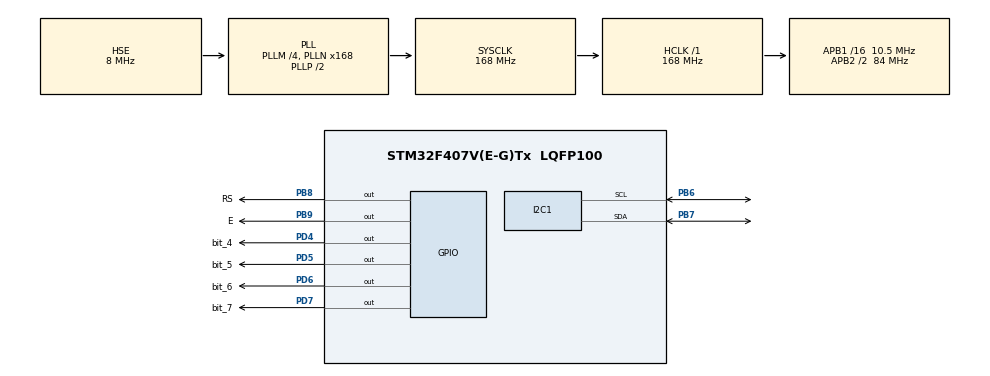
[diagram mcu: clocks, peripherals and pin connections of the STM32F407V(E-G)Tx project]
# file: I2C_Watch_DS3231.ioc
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Mcu.Family=STM32F4
Mcu.Name=STM32F407V(E-G)Tx
Mcu.Package=LQFP100
NVIC.I2C1_ER_IRQn=true\:0\:0\:false\:false\:true\:true\:true\:true
NVIC.I2C1_EV_IRQn=true\:0\:0\:false\:false\:true\:true\:true\:true
NVIC.PriorityGroup=NVIC_PRIORITYGROUP_4
PB6.Mode=I2C
PB6.Signal=I2C1_SCL
PB7.Mode=I2C
PB7.Signal=I2C1_SDA
PB8.GPIO_Label=RS
PB8.Signal=GPIO_Output
PB9.GPIO_Label=E
PB9.Signal=GPIO_Output
PD4.GPIO_Label=bit_4
PD4.Signal=GPIO_Output
PD5.GPIO_Label=bit_5
PD5.Signal=GPIO_Output
PD6.GPIO_Label=bit_6
PD6.Signal=GPIO_Output
PD7.GPIO_Label=bit_7
PD7.Signal=GPIO_Output
PH0-OSC_IN.Mode=HSE-External-Oscillator
PH0-OSC_IN.Signal=RCC_OSC_IN
PH1-OSC_OUT.Mode=HSE-External-Oscillator
PH1-OSC_OUT.Signal=RCC_OSC_OUT
ProjectManager.HeapSize=0x200
ProjectManager.StackSize=0x400
ProjectManager.TargetToolchain=STM32CubeIDE
RCC.48MHZClocksFreq_Value=84000000
RCC.AHBFreq_Value=168000000
RCC.APB1CLKDivider=RCC_HCLK_DIV16
RCC.APB1Freq_Value=10500000
RCC.APB1TimFreq_Value=21000000
RCC.APB2CLKDivider=RCC_HCLK_DIV2
RCC.APB2Freq_Value=84000000
RCC.APB2TimFreq_Value=168000000
RCC.CortexFreq_Value=168000000
RCC.HCLKFreq_Value=168000000
RCC.HSE_VALUE=8000000
RCC.HSI_VALUE=16000000
RCC.LSE_VALUE=32768
RCC.PLLM=4
RCC.PLLN=168
RCC.PLLSourceVirtual=RCC_PLLSOURCE_HSE
RCC.SYSCLKFreq_VALUE=168000000
RCC.SYSCLKSource=RCC_SYSCLKSOURCE_PLLCLK
RCC.VCOOutputFreq_Value=336000000
board=custom

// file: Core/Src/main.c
/* USER CODE BEGIN Header */
/**
  ******************************************************************************
  * @file           : main.c
  * @brief          : Main program body
  ******************************************************************************
  * @attention
  *
  * Copyright (c) 2025 STMicroelectronics.
  * All rights reserved.
  *
  * This software is licensed under terms that can be found in the LICENSE file
  * in the root directory of this software component.
  * If no LICENSE file comes with this software, it is provided AS-IS.
  *
  ******************************************************************************
  */
/* USER CODE END Header */
#include "main.h"

/* USER CODE BEGIN Includes */
#include "lcd.h"
#include "I2C.h"
/* USER CODE END Includes */

I2C_HandleTypeDef hi2c1;

void SystemClock_Config(void);
static void MX_GPIO_Init(void);
static void MX_I2C1_Init(void);

int main(void)
{

  /* USER CODE BEGIN 1 */
	extern uint8_t aTxBuffer[8];
	uint8_t sec = 0, min = 0, hour = 0, day = 0, date = 0, month = 0, year = 0;
  /* USER CODE END 1 */

  /* MCU Configuration--------------------------------------------------------*/

  /* Reset of all peripherals, Initializes the Flash interface and the Systick. */
  HAL_Init();

  /* Configure the system clock */
  SystemClock_Config();

  /* Initialize all configured peripherals */
  MX_GPIO_Init();
  MX_I2C1_Init();
  /* USER CODE BEGIN 2 */
  LCD_Init();
  void DisplayData(uint8_t *data, uint8_t cell)
  {
	  *data = RTC_ConvertFromDec_toBin(aTxBuffer[cell]);
	  LCD_SendChar((char)((*data/10)%10) + 0x30); //+0x30 in order to get the ASCII code of the number
	  LCD_SendChar((char)(*data%10) + 0x30);
  }
  /* USER CODE END 2 */

  /* Infinite loop */
  /* USER CODE BEGIN WHILE */

  while (1)
  {
	  LCD_SetPos(1, 0);
	  aTxBuffer[0] = 0;
	  I2C_WriteBuffer(hi2c1, 0xD0, 1); //Send the address of the slave
	  while (HAL_I2C_GetState(&hi2c1) != HAL_I2C_STATE_READY);

	  I2C_ReadBuffer(hi2c1, 0xD1, 7); //Require 7 bytes from the slave

	  DisplayData(&day, 3);
	  LCD_SendChar(':');
	  DisplayData(&date, 4);
	  LCD_SendChar(':');
	  DisplayData(&month, 5);
	  LCD_SendChar(':');
	  DisplayData(&year, 6);
	  LCD_SendChar(';'); //A separator before date
	  //----------------------------------------
	  DisplayData(&hour, 2);
	  LCD_SendChar(':'); //A separator between time blocks
	  DisplayData(&min, 1);
	  LCD_SendChar(':');
	  DisplayData(&sec, 0);
	  LCD_SendChar('.'); //The end
  }
    /* USER CODE END WHILE */

}

void SystemClock_Config(void)
{
  RCC_OscInitTypeDef RCC_OscInitStruct = {0};
  RCC_ClkInitTypeDef RCC_ClkInitStruct = {0};

  /** Configure the main internal regulator output voltage
  */
  __HAL_RCC_PWR_CLK_ENABLE();
  __HAL_PWR_VOLTAGESCALING_CONFIG(PWR_REGULATOR_VOLTAGE_SCALE1);

  /** Initializes the RCC Oscillators according to the specified parameters
  * in the RCC_OscInitTypeDef structure.
  */
  RCC_OscInitStruct.OscillatorType = RCC_OSCILLATORTYPE_HSE;
  RCC_OscInitStruct.HSEState = RCC_HSE_ON;
  RCC_OscInitStruct.PLL.PLLState = RCC_PLL_ON;
  RCC_OscInitStruct.PLL.PLLSource = RCC_PLLSOURCE_HSE;
  RCC_OscInitStruct.PLL.PLLM = 4;
  RCC_OscInitStruct.PLL.PLLN = 168;
  RCC_OscInitStruct.PLL.PLLP = RCC_PLLP_DIV2;
  RCC_OscInitStruct.PLL.PLLQ = 4;
  if (HAL_RCC_OscConfig(&RCC_OscInitStruct) != HAL_OK)
  {
    Error_Handler();
  }

  /** Initializes the CPU, AHB and APB buses clocks
  */
  RCC_ClkInitStruct.ClockType = RCC_CLOCKTYPE_HCLK|RCC_CLOCKTYPE_SYSCLK
                              |RCC_CLOCKTYPE_PCLK1|RCC_CLOCKTYPE_PCLK2;
  RCC_ClkInitStruct.SYSCLKSource = RCC_SYSCLKSOURCE_PLLCLK;
  RCC_ClkInitStruct.AHBCLKDivider = RCC_SYSCLK_DIV1;
  RCC_ClkInitStruct.APB1CLKDivider = RCC_HCLK_DIV16;
  RCC_ClkInitStruct.APB2CLKDivider = RCC_HCLK_DIV2;

  if (HAL_RCC_ClockConfig(&RCC_ClkInitStruct, FLASH_LATENCY_5) != HAL_OK)
  {
    Error_Handler();
  }
}

static void MX_I2C1_Init(void)
{

  hi2c1.Instance = I2C1;
  hi2c1.Init.ClockSpeed = 100000;
  hi2c1.Init.DutyCycle = I2C_DUTYCYCLE_2;
  hi2c1.Init.OwnAddress1 = 0;
  hi2c1.Init.AddressingMode = I2C_ADDRESSINGMODE_7BIT;
  hi2c1.Init.DualAddressMode = I2C_DUALADDRESS_DISABLE;
  hi2c1.Init.OwnAddress2 = 0;
  hi2c1.Init.GeneralCallMode = I2C_GENERALCALL_DISABLE;
  hi2c1.Init.NoStretchMode = I2C_NOSTRETCH_DISABLE;
  if (HAL_I2C_Init(&hi2c1) != HAL_OK)
  {
    Error_Handler();
  }

}

static void MX_GPIO_Init(void)
{
  GPIO_InitTypeDef GPIO_InitStruct = {0};

  /* GPIO Ports Clock Enable */
  __HAL_RCC_GPIOH_CLK_ENABLE();
  __HAL_RCC_GPIOD_CLK_ENABLE();
  __HAL_RCC_GPIOB_CLK_ENABLE();

  /*Configure GPIO pin Output Level */
  HAL_GPIO_WritePin(GPIOD, bit_4_Pin|bit_5_Pin|bit_6_Pin|bit_7_Pin, GPIO_PIN_RESET);

  /*Configure GPIO pin Output Level */
  HAL_GPIO_WritePin(GPIOB, RS_Pin|E_Pin, GPIO_PIN_RESET);

  /*Configure GPIO pins : bit_4_Pin bit_5_Pin bit_6_Pin bit_7_Pin */
  GPIO_InitStruct.Pin = bit_4_Pin|bit_5_Pin|bit_6_Pin|bit_7_Pin;
  GPIO_InitStruct.Mode = GPIO_MODE_OUTPUT_PP;
  GPIO_InitStruct.Pull = GPIO_NOPULL;
  GPIO_InitStruct.Speed = GPIO_SPEED_FREQ_LOW;
  HAL_GPIO_Init(GPIOD, &GPIO_InitStruct);

  /*Configure GPIO pins : RS_Pin E_Pin */
  GPIO_InitStruct.Pin = RS_Pin|E_Pin;
  GPIO_InitStruct.Mode = GPIO_MODE_OUTPUT_PP;
  GPIO_InitStruct.Pull = GPIO_NOPULL;
  GPIO_InitStruct.Speed = GPIO_SPEED_FREQ_LOW;
  HAL_GPIO_Init(GPIOB, &GPIO_InitStruct);

}

void Error_Handler(void)
{
  __disable_irq();
  while (1)
  {
  }
}
